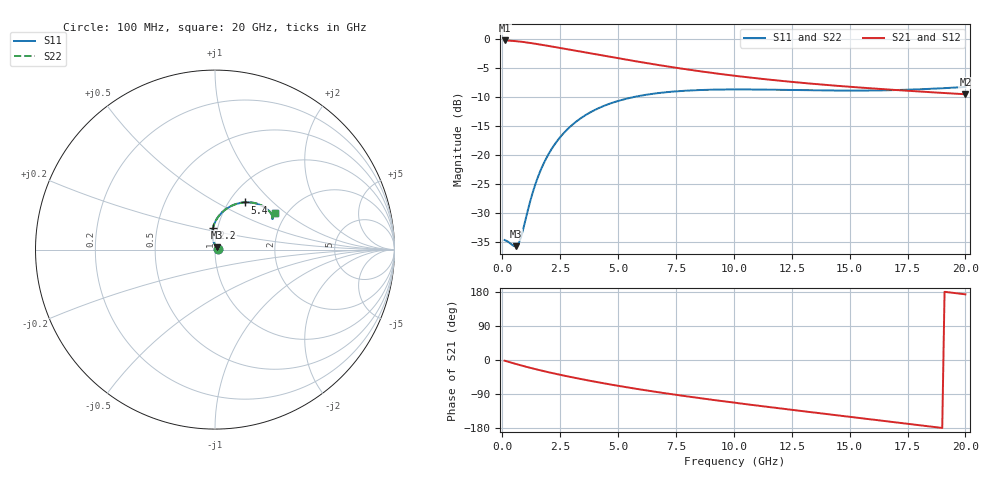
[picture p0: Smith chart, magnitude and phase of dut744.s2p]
! Touchstone file exported from HFSS 2024.1.0
!  File:  C:/UserFiles/LocalFiles/RDL_TSV_Batchsim/temp_RDL_TSV_744_1779896226.aedt
!  Generated:  11:50:55 PM May 27, 2026
!  Design:  RDL_TSV
!  Project:  temp_RDL_TSV_744_1779896226
!  Setup:  Setup1
!  Solution:  Sweep
! Variables:
!  dtsv = 14.72um
!  hbump = 3um
!  htsv = 65.81um
!  ldown = 287.8um
!  lrdl = 403.56um
!  p = 40
!  p1 = 55.92um
!  rhole = 10um
!  subl = 2477.64um
!  t = 450um
!  tdown = 3.28um
!  trdl = 3.91um
!  viad = 10um
!  wdown = 18.44um
!  wrdl = 10.56um
!  xbump = 18um
# GHz S MA R 50.000000
! Terminal data exported
! Port[1] = TM1_1_T1
! Port[2] = TM1_4_T1
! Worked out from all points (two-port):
!   200 points, 100 MHz to 20 GHz, reference 50 ohm
!   highest |S21| = -0.17 dB at 100 MHz (marker M1); lowest = -9.4 dB at 20 GHz (marker M2)
!   |S21| within 3 dB of the highest: start of sweep to 4.912 GHz
!   lowest |S11| = -35.6 dB at 600 MHz (marker M3), VSWR 1.03, Z = 51.1 + j1.24 ohm
!   |S11| at or under -10 dB: start of sweep to 5.588 GHz
!   |S22| runs from -35.6 to -8.2 dB; largest |S21 - S12| = 2.2e-14
!   S11 on the Smith chart (normalised r, x): 100 MHz: 1.04, +0.00; 2.2 GHz: 0.95, +0.23; 5.4 GHz: 1.18, +0.69; 20 GHz: 1.74, +0.83
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0.1  0.01866 5.3  0.9807 -1.8  0.9807 -1.8  0.01866 5.3
! Gamma 0 0 0 0
! Port Impedance 50 0 50 0
0.5  0.01659 35.2  0.9706 -9.0  0.9706 -9.0  0.01657 35.2
0.6  0.01653 47.3  0.9665 -10.7  0.9665 -10.7  0.01651 47.4
0.7  0.0174 60.7  0.962 -12.4  0.962 -12.4  0.01739 60.9
0.8  0.01956 73.6  0.957 -14.1  0.957 -14.1  0.01956 73.8
1.2  0.03995 99.9  0.9336 -20.6  0.9336 -20.6  0.04004 100.0
1.5  0.0621 102.5  0.9139 -25.2  0.9139 -25.2  0.06224 102.6
1.8  0.08638 100.6  0.8933 -29.5  0.8933 -29.5  0.08657 100.6
2.2  0.1195 95.7  0.8656 -35.1  0.8656 -35.1  0.1198 95.8
2.5  0.1439 91.6  0.8449 -39.1  0.8449 -39.1  0.1442 91.7
2.8  0.1673 87.4  0.8247 -42.9  0.8247 -42.9  0.1676 87.5
3.5  0.2168 78.1  0.7789 -51.5  0.7789 -51.5  0.2172 78.2
4.4  0.2682 67.6  0.7237 -61.7  0.7237 -61.7  0.2689 67.7
5.4  0.31 58.0  0.6677 -72.2  0.6677 -72.2  0.3107 58.0
6.8  0.3463 47.5  0.5998 -85.6  0.5998 -85.6  0.3472 47.6
8.4  0.3657 38.9  0.5369 -99.5  0.5369 -99.5  0.3667 39.0
10.1  0.371 32.9  0.4848 -113.2  0.4848 -113.2  0.3721 33.0
11.7  0.3688 29.6  0.4468 -125.5  0.4468 -125.5  0.37 29.7
13.4  0.3644 28.1  0.4151 -138.2  0.4151 -138.2  0.3657 28.2
15  0.3623 28.1  0.3911 -149.9  0.3911 -149.9  0.3637 28.2
16.7  0.3652 29.1  0.3701 -162.4  0.3701 -162.4  0.3667 29.2
20  0.3895 31.4  0.3372 173.3  0.3372 173.3  0.3911 31.5
